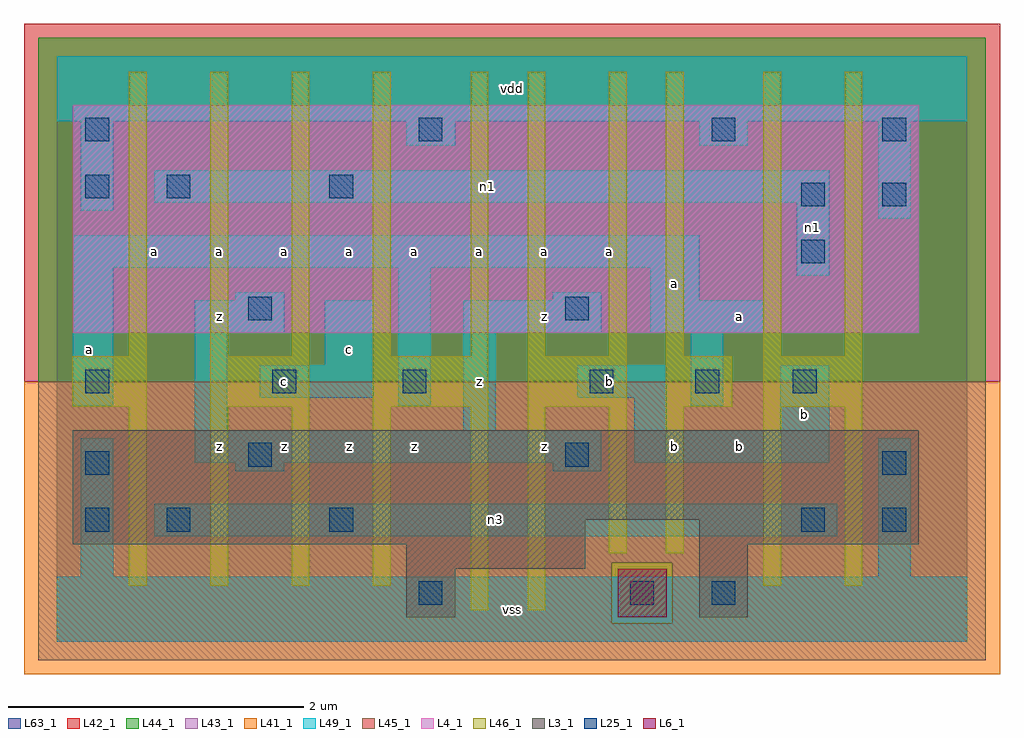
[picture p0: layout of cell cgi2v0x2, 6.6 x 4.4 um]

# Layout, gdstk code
import gdstk
lib = gdstk.Library(unit=1e-6, precision=1e-09)
def R(c, l, rs):  # rectangles x0, y0, x1, y1
    for r in rs: c.add(gdstk.rectangle(r[:2], r[2:], *l))
def A(c, l, x, y, w, h, nx, ny, dx, dy):  # array of equal rectangles
    R(c, l, [(x+i*dx, y+j*dy, x+i*dx+w, y+j*dy+h) for i in range(nx) for j in range(ny)])
L3_1 = (3, 1)
L4_1 = (4, 1)
L6_1 = (6, 1)
L25_1 = (25, 1)
L41_1 = (41, 1)
L42_1 = (42, 1)
L43_1 = (43, 1)
L44_1 = (44, 1)
L45_1 = (45, 1)
L46_1 = (46, 1)
L49_1 = (49, 1)
L63_1 = (63, 1)

cgi2v0x2 = lib.new_cell('cgi2v0x2')
R(cgi2v0x2, L3_1, [(2.365,0.165,2.695,0.495), (4.345,0.165,4.675,0.66), (2.365,0.495,3.575,0.66), (0.11,0.66,3.575,0.825), (4.345,0.66,5.83,0.825), (0.11,0.825,5.83,1.43)])
R(cgi2v0x2, L4_1, [(0.11,2.09,5.83,3.63)])
R(cgi2v0x2, L6_1, [(3.795,0.165,4.125,0.495)])
R(cgi2v0x2, L25_1, [(2.45,0.25,2.61,0.41), (3.88,0.25,4.04,0.41), (4.43,0.25,4.59,0.41), (0.195,0.745,0.355,0.905), (0.745,0.745,0.905,0.905), (1.845,0.745,2.005,0.905), (5.035,0.745,5.195,0.905), (5.585,0.745,5.745,0.905), (0.195,1.13,0.355,1.29), (5.585,1.13,5.745,1.29), (1.295,1.185,1.455,1.345), (3.44,1.185,3.6,1.345), (0.195,1.68,0.355,1.84), (1.46,1.68,1.62,1.84), (2.34,1.68,2.5,1.84), (3.605,1.68,3.765,1.84), (4.32,1.68,4.48,1.84), (4.98,1.68,5.14,1.84), (1.295,2.175,1.455,2.335), (3.44,2.175,3.6,2.335), (5.035,2.56,5.195,2.72), (5.035,2.945,5.195,3.105), (5.585,2.945,5.745,3.105), (0.195,3,0.355,3.16), (0.745,3,0.905,3.16), (1.845,3,2.005,3.16), (0.195,3.385,0.355,3.545), (2.45,3.385,2.61,3.545), (4.43,3.385,4.59,3.545), (5.585,3.385,5.745,3.545)])
R(cgi2v0x2, L41_1, [(-0.22,-0.22,6.38,1.76)])
R(cgi2v0x2, L42_1, [(-0.22,1.76,6.38,4.18)])
R(cgi2v0x2, L43_1, [(2.365,0.165,2.695,0.495), (3.795,0.165,4.125,0.495), (4.345,0.165,4.675,0.66), (2.365,0.495,3.575,0.66), (0.11,0.66,3.575,0.825), (4.345,0.66,5.83,0.825), (0.11,0.825,5.83,1.43), (0.11,2.09,5.83,3.63)])
R(cgi2v0x2, L44_1, [(3.755,0.125,4.165,0.535), (-0.125,1.76,6.285,4.085)])
R(cgi2v0x2, L45_1, [(-0.125,-0.125,6.285,0.125), (-0.125,0.125,3.755,0.535), (4.165,0.125,6.285,0.535), (-0.125,0.535,6.285,1.76)])
A(cgi2v0x2, L46_1, 0.49, 0.38, 0.12, 1.21, 4, 1, 0.55, 0)
A(cgi2v0x2, L46_1, 0.49, 1.93, 0.12, 1.925, 4, 1, 0.55, 0)
R(cgi2v0x2, L46_1, [(2.8,0.215,2.92,1.59), (3.185,0.215,3.305,1.59), (4.78,0.38,4.9,1.59), (5.33,0.38,5.45,1.59), (3.735,0.6,3.855,1.59), (4.12,0.6,4.24,1.59), (0.105,1.59,0.61,1.93), (1.04,1.59,1.71,1.93), (2.14,1.59,2.92,1.93), (3.185,1.59,3.855,1.93), (4.12,1.59,4.57,1.93), (4.78,1.59,5.45,1.93), (2.8,1.93,2.92,3.855), (3.185,1.93,3.305,3.855), (3.735,1.93,3.855,3.855), (4.12,1.93,4.24,3.855), (4.78,1.93,4.9,3.855), (5.33,1.93,5.45,3.855)])
R(cgi2v0x2, L49_1, [(0,0,6.16,0.44), (0.165,0.44,0.385,1.375), (5.555,0.44,5.775,1.375), (0.66,0.715,5.28,0.935), (1.21,1.155,1.54,1.21), (3.355,1.155,3.685,1.21), (0.935,1.21,3.685,1.43), (3.905,1.21,5.225,1.43), (0.935,1.43,1.155,2.09), (2.75,1.43,2.97,2.09), (3.905,1.43,4.125,1.65), (4.895,1.43,5.225,1.87), (0.11,1.595,0.385,2.53), (2.31,1.595,2.53,2.53), (4.29,1.595,4.51,2.09), (1.375,1.65,2.145,1.87), (3.52,1.65,4.125,1.87), (1.815,1.87,2.145,2.31), (0.935,2.09,1.54,2.31), (2.75,2.09,3.685,2.31), (4.015,2.09,4.785,2.31), (1.21,2.31,1.54,2.365), (3.355,2.31,3.685,2.365), (4.015,2.31,4.345,2.53), (5.005,2.475,5.225,2.97), (0.11,2.53,4.345,2.75), (5.555,2.86,5.775,3.52), (0.165,2.915,0.385,3.52), (0.66,2.97,5.225,3.19), (2.365,3.355,2.695,3.52), (4.345,3.355,4.675,3.52), (0,3.52,6.16,3.96)])
R(cgi2v0x2, L63_1, [(0,0,6.16,3.96)])
cgi2v0x2.add(gdstk.Label('a', (0.22,1.98), layer=49, texttype=1))
cgi2v0x2.add(gdstk.Label('a', (0.66,2.64), layer=49, texttype=1))
cgi2v0x2.add(gdstk.Label('z', (1.1,1.32), layer=49, texttype=1))
cgi2v0x2.add(gdstk.Label('z', (1.98,1.32), layer=49, texttype=1))
cgi2v0x2.add(gdstk.Label('z', (1.54,1.32), layer=49, texttype=1))
cgi2v0x2.add(gdstk.Label('c', (1.54,1.76), layer=49, texttype=1))
cgi2v0x2.add(gdstk.Label('z', (1.1,2.2), layer=49, texttype=1))
cgi2v0x2.add(gdstk.Label('c', (1.98,1.98), layer=49, texttype=1))
cgi2v0x2.add(gdstk.Label('a', (1.1,2.64), layer=49, texttype=1))
cgi2v0x2.add(gdstk.Label('a', (1.98,2.64), layer=49, texttype=1))
cgi2v0x2.add(gdstk.Label('a', (1.54,2.64), layer=49, texttype=1))
cgi2v0x2.add(gdstk.Label('vss', (3.08,0.22), layer=49, texttype=1))
cgi2v0x2.add(gdstk.Label('z', (2.42,1.32), layer=49, texttype=1))
cgi2v0x2.add(gdstk.Label('z', (3.3,1.32), layer=49, texttype=1))
cgi2v0x2.add(gdstk.Label('z', (2.86,1.76), layer=49, texttype=1))
cgi2v0x2.add(gdstk.Label('z', (3.3,2.2), layer=49, texttype=1))
cgi2v0x2.add(gdstk.Label('a', (2.42,2.64), layer=49, texttype=1))
cgi2v0x2.add(gdstk.Label('a', (3.3,2.64), layer=49, texttype=1))
cgi2v0x2.add(gdstk.Label('a', (2.86,2.64), layer=49, texttype=1))
cgi2v0x2.add(gdstk.Label('vdd', (3.08,3.74), layer=49, texttype=1))
cgi2v0x2.add(gdstk.Label('b', (4.62,1.32), layer=49, texttype=1))
cgi2v0x2.add(gdstk.Label('b', (4.18,1.32), layer=49, texttype=1))
cgi2v0x2.add(gdstk.Label('b', (3.74,1.76), layer=49, texttype=1))
cgi2v0x2.add(gdstk.Label('a', (4.62,2.2), layer=49, texttype=1))
cgi2v0x2.add(gdstk.Label('a', (4.18,2.42), layer=49, texttype=1))
cgi2v0x2.add(gdstk.Label('a', (3.74,2.64), layer=49, texttype=1))
cgi2v0x2.add(gdstk.Label('n3', (2.97,0.825), layer=49, texttype=1))
cgi2v0x2.add(gdstk.Label('b', (5.06,1.54), layer=49, texttype=1))
cgi2v0x2.add(gdstk.Label('n1', (5.115,2.805), layer=49, texttype=1))
cgi2v0x2.add(gdstk.Label('n1', (2.915,3.08), layer=49, texttype=1))

lib.write_gds('cgi2v0x2.gds')
